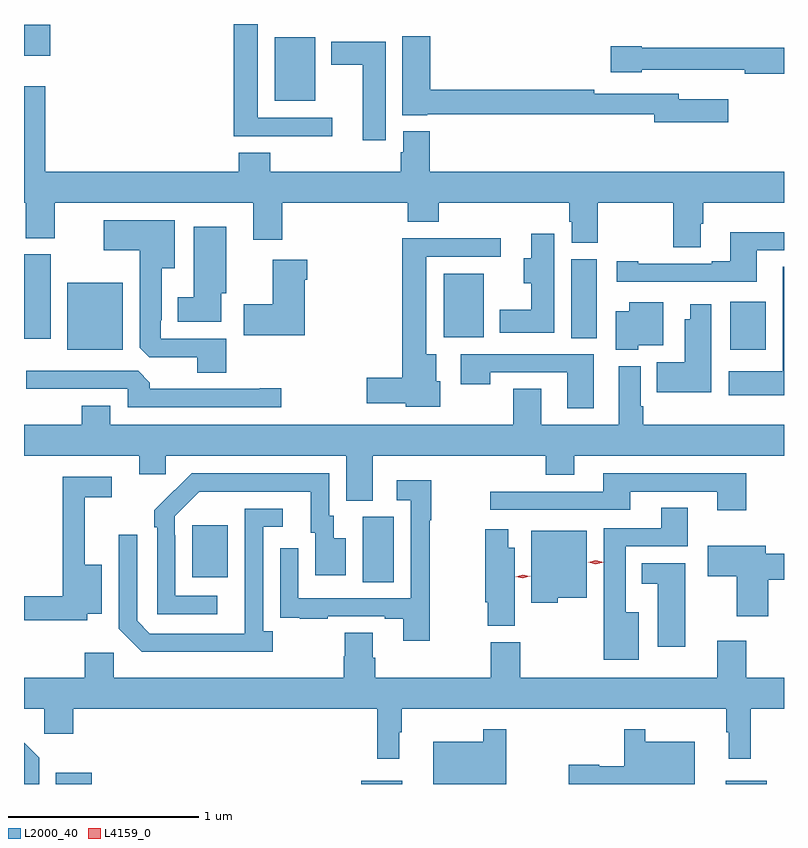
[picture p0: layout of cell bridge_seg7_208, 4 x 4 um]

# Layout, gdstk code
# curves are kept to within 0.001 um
import gdstk
lib = gdstk.Library(unit=1e-6, precision=1e-09)
def R(c, l, rs):  # rectangles x0, y0, x1, y1
    for r in rs: c.add(gdstk.rectangle(r[:2], r[2:], *l))
def P(c, l, *ps):  # polygons
    for p in ps: c.add(gdstk.Polygon(p, *l))
L2000_40 = (2000, 40)
L4159_0 = (4159, 0)

bridge_seg7_208 = lib.new_cell('bridge_seg7_208')
R(bridge_seg7_208, L2000_40, [(159.308,1009.545,159.496,1009.603), (160.916,1009.545,161.131,1009.561), (162.833,1009.545,163.048,1009.561), (160.922,1010.608,161.086,1010.952), (160.025,1010.633,160.213,1010.908), (159.368,1011.83,159.661,1012.183), (162.857,1011.83,163.045,1012.084), (159.14,1011.888,159.28,1012.332), (162.02,1011.892,162.154,1012.308), (161.348,1011.896,161.56,1012.231), (160.46,1013.141,160.672,1013.476), (159.14,1013.378,159.277,1013.542)])
P(bridge_seg7_208, L2000_40, [(160.762,1013.052),(160.369,1013.052),(160.369,1013.545),(160.244,1013.545),(160.244,1012.955),(160.762,1012.955)],
  [(162.847,1013.149),(162.586,1013.149),(162.586,1013.178),(162.14,1013.178),(162.14,1013.198),(161.279,1013.198),(161.279,1013.48),(161.132,1013.48),(161.132,1013.066),(161.262,1013.066),(161.262,1013.07),(162.458,1013.07),(162.458,1013.027),(162.847,1013.027)],
  [(161.044,1013.452),(160.757,1013.452),(160.757,1013.33),(160.922,1013.33),(160.922,1012.932),(161.044,1012.932)],
  [(163.14,1013.42),(162.39,1013.42),(162.39,1013.428),(162.228,1013.428),(162.228,1013.291),(162.39,1013.291),(162.39,1013.304),(162.682,1013.304),(162.682,1013.303),(162.934,1013.303),(162.934,1013.284),(163.14,1013.284)],
  [(161.159,1012.505),(161.324,1012.505),(161.324,1012.604),(162.011,1012.604),(162.011,1012.503),(162.023,1012.503),(162.023,1012.393),(162.159,1012.393),(162.159,1012.604),(162.556,1012.604),(162.556,1012.369),(162.703,1012.369),(162.703,1012.493),(162.716,1012.493),(162.716,1012.604),(163.14,1012.604),(163.14,1012.768),(161.276,1012.768),(161.276,1012.981),(161.135,1012.981),(161.135,1012.869),(161.123,1012.869),(161.123,1012.768),(160.436,1012.768),(160.436,1012.867),(160.271,1012.867),(160.271,1012.768),(159.253,1012.768),(159.253,1013.218),(159.14,1013.218),(159.14,1012.604),(159.149,1012.604),(159.149,1012.417),(159.301,1012.417),(159.301,1012.604),(160.346,1012.604),(160.346,1012.41),(160.499,1012.41),(160.499,1012.604),(161.159,1012.604)],
  [(160.205,1011.888),(159.861,1011.888),(159.861,1011.985),(159.865,1011.985),(159.865,1012.259),(159.934,1012.259),(159.934,1012.513),(159.561,1012.513),(159.561,1012.355),(159.749,1012.355),(159.749,1011.841),(159.798,1011.792),(160.052,1011.792),(160.052,1011.709),(160.205,1011.709)],
  [(160.177,1012.128),(160.204,1012.128),(160.204,1012.477),(160.034,1012.477),(160.034,1012.108),(159.95,1012.108),(159.95,1011.977),(160.177,1011.977)],
  [(162.997,1012.353),(163.14,1012.353),(163.14,1012.45),(162.857,1012.45),(162.857,1012.297),(162.761,1012.297),(162.761,1012.284),(162.373,1012.284),(162.373,1012.297),(162.261,1012.297),(162.261,1012.188),(162.997,1012.188)],
  [(161.932,1012.441),(161.81,1012.441),(161.81,1012.311),(161.771,1012.311),(161.771,1012.181),(161.81,1012.181),(161.81,1012.042),(161.645,1012.042),(161.645,1011.92),(161.932,1011.92)],
  [(161.332,1011.666),(161.311,1011.666),(161.311,1011.808),(161.257,1011.808),(161.257,1012.32),(161.65,1012.32),(161.65,1012.418),(161.132,1012.418),(161.132,1011.683),(160.944,1011.683),(160.944,1011.548),(161.148,1011.548),(161.148,1011.53),(161.332,1011.53)],
  [(160.618,1012.199),(160.631,1012.199),(160.631,1012.303),(160.448,1012.303),(160.448,1012.071),(160.296,1012.071),(160.296,1011.908),(160.618,1011.908)],
  [(163.14,1012.268),(163.134,1012.268),(163.134,1011.718),(162.849,1011.718),(162.849,1011.59),(163.14,1011.59)],
  [(162.372,1011.854),(162.505,1011.854),(162.505,1012.081),(162.326,1012.081),(162.326,1012.033),(162.254,1012.033),(162.254,1011.83),(162.372,1011.83)],
  [(162.757,1012.069),(162.647,1012.069),(162.647,1011.991),(162.617,1011.991),(162.617,1011.766),(162.47,1011.766),(162.47,1011.608),(162.757,1011.608)],
  [(162.139,1011.807),(161.439,1011.807),(161.439,1011.648),(161.595,1011.648),(161.595,1011.711),(161.999,1011.711),(161.999,1011.522),(162.139,1011.522)],
  [(160.975,1011.272),(161.885,1011.272),(161.885,1011.173),(162.037,1011.173),(162.037,1011.272),(163.14,1011.272),(163.14,1011.436),(162.398,1011.436),(162.398,1011.532),(162.385,1011.532),(162.385,1011.745),(162.269,1011.745),(162.269,1011.436),(161.863,1011.436),(161.863,1011.626),(161.716,1011.626),(161.716,1011.436),(159.595,1011.436),(159.595,1011.535),(159.443,1011.535),(159.443,1011.436),(159.14,1011.436),(159.14,1011.272),(159.746,1011.272),(159.746,1011.174),(159.885,1011.174),(159.885,1011.272),(160.835,1011.272),(160.835,1011.037),(160.975,1011.037)],
  [(160.495,1011.629),(160.382,1011.629),(160.382,1011.624),(159.803,1011.624),(159.803,1011.658),(159.741,1011.72),(159.153,1011.72),(159.153,1011.624),(159.687,1011.624),(159.687,1011.528),(160.495,1011.528)],
  [(162.941,1011.18),(162.188,1011.18),(162.188,1011.084),(161.595,1011.084),(161.595,1010.988),(162.331,1010.988),(162.331,1011.084),(162.788,1011.084),(162.788,1010.985),(162.941,1010.985)],
  [(160.156,1010.535),(159.936,1010.535),(159.936,1010.855),(159.933,1010.855),(159.933,1010.955),(160.062,1011.084),(160.649,1011.084),(160.649,1010.868),(160.673,1010.868),(160.673,1010.643),(160.834,1010.643),(160.834,1010.839),(160.771,1010.839),(160.771,1010.958),(160.746,1010.958),(160.746,1011.18),(160.022,1011.18),(159.825,1010.985),(159.825,1010.897),(159.84,1010.897),(159.84,1010.439),(160.156,1010.439)],
  [(159.474,1010.441),(159.55,1010.441),(159.55,1010.698),(159.461,1010.698),(159.461,1011.054),(159.601,1011.054),(159.601,1011.162),(159.343,1011.162),(159.343,1010.534),(159.14,1010.534),(159.14,1010.406),(159.474,1010.406)],
  [(161.276,1010.932),(161.284,1010.932),(161.284,1011.145),(161.103,1011.145),(161.103,1011.039),(161.175,1011.039),(161.175,1010.523),(160.584,1010.523),(160.584,1010.785),(160.488,1010.785),(160.488,1010.53),(160.489,1010.53),(160.489,1010.421),(160.591,1010.421),(160.591,1010.415),(160.739,1010.415),(160.739,1010.427),(161.039,1010.427),(161.039,1010.415),(161.135,1010.415),(161.135,1010.298),(161.276,1010.298)],
  [(162.376,1010.449),(162.307,1010.449),(162.307,1010.796),(162.634,1010.796),(162.634,1010.999),(162.494,1010.999),(162.494,1010.892),(162.191,1010.892),(162.191,1010.198),(162.376,1010.198)],
  [(160.45,1010.35),(160.398,1010.35),(160.398,1010.898),(160.501,1010.898),(160.501,1010.994),(160.302,1010.994),(160.301,1010.337),(159.801,1010.337),(159.735,1010.403),(159.735,1010.857),(159.639,1010.857),(159.639,1010.361),(159.76,1010.24),(160.45,1010.24)],
  [(161.722,1010.788),(161.689,1010.788),(161.689,1010.887),(161.567,1010.887),(161.567,1010.502),(161.581,1010.502),(161.581,1010.377),(161.722,1010.377)],
  [(161.949,1010.525),(162.103,1010.525),(162.103,1010.878),(161.81,1010.878),(161.81,1010.498),(161.949,1010.498)],
  [(163.058,1010.62),(163.14,1010.62),(163.14,1010.756),(163.045,1010.756),(163.045,1010.8),(162.738,1010.8),(162.738,1010.638),(162.89,1010.638),(162.89,1010.427),(163.058,1010.427)],
  [(162.619,1010.707),(162.392,1010.707),(162.392,1010.6),(162.476,1010.6),(162.476,1010.268),(162.619,1010.268)],
  [(161.116,1009.817),(161.128,1009.817),(161.128,1009.94),(162.837,1009.94),(162.837,1009.817),(162.848,1009.817),(162.848,1009.677),(162.965,1009.677),(162.965,1009.94),(163.14,1009.94),(163.14,1010.104),(162.941,1010.104),(162.941,1010.299),(162.788,1010.299),(162.788,1010.104),(161.751,1010.104),(161.751,1010.292),(161.596,1010.292),(161.596,1010.104),(160.988,1010.104),(160.988,1010.21),(160.975,1010.21),(160.975,1010.342),(160.828,1010.342),(160.828,1010.217),(160.823,1010.217),(160.823,1010.104),(159.612,1010.104),(159.612,1010.236),(159.461,1010.236),(159.461,1010.104),(159.14,1010.104),(159.14,1009.94),(159.246,1009.94),(159.246,1009.809),(159.398,1009.809),(159.398,1009.94),(160.999,1009.94),(160.999,1009.677),(161.116,1009.677)],
  [(161.677,1009.834),(161.556,1009.834),(161.556,1009.768),(161.294,1009.768),(161.294,1009.545),(161.677,1009.545)],
  [(162.67,1009.768),(162.409,1009.768),(162.409,1009.834),(162.299,1009.834),(162.299,1009.639),(162.168,1009.639),(162.168,1009.647),(162.006,1009.647),(162.006,1009.545),(162.67,1009.545)],
  [(159.219,1009.683),(159.14,1009.762),(159.14,1009.545),(159.219,1009.545)])
P(bridge_seg7_208, L4159_0, [(162.15,1010.702),(162.11,1010.712),(162.11,1010.712),(162.11,1010.712),(162.15,1010.722),(162.191,1010.711),(162.191,1010.711),(162.191,1010.711)],
  [(161.765,1010.627),(161.727,1010.636),(161.726,1010.636),(161.727,1010.636),(161.765,1010.647),(161.803,1010.638),(161.804,1010.638),(161.803,1010.638)])

lib.write_gds('bridge_seg7_208.gds')
